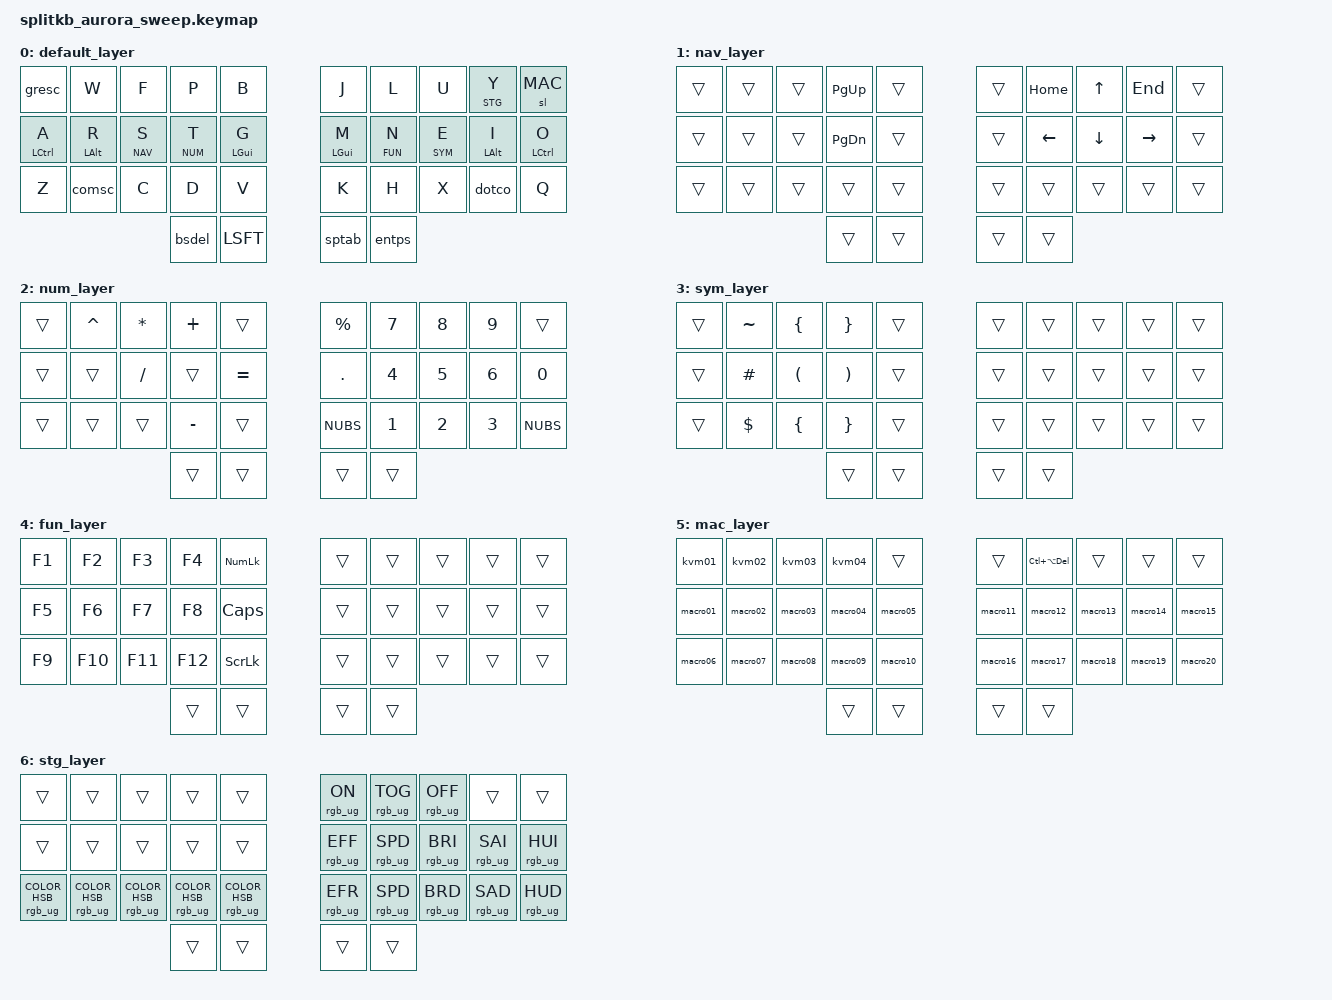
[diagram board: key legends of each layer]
/*
 * Copyright (c) 2022 The ZMK Contributors
 *
 * SPDX-License-Identifier: MIT
 * sources:
 * https://github.com/CrossR/zmk_config - Macro configuration
 * https://joshinator.de/posts/zmk-combo-helper/ - Combo configuration
 */

/* Key Positions
╭────┬────┬────┬────┬────╮      ╭────┬────┬────┬────┬────╮
  00   01   02   03   04          05   06   07   08   09
├────┼────┼────┼────┼────┤      ├────┼────┼────┼────┼────┤
  10   11   12   13   14          15   16   17   18   19
├────┼────┼────┼────┼────┤      ├────┼────┼────┼────┼────┤
  20   21   22   23   24          25   26   27   28   29
╰────┴────┴────┼────┼────┤      ├────┼────┼────┴────┴────╯
                 30   31          32   33
               ╰────┴────╯      ╰────┴────╯
*/

#include <behaviors.dtsi>
#include <dt-bindings/zmk/keys.h>
#include <dt-bindings/zmk/bt.h>
#include <dt-bindings/zmk/rgb.h>

// Configure LEDs to include per key LED. Six underglow plus seventeen per key
    &led_strip { chain-length = <23>; };
// -----------------

// Layer definitions
    #define BASE 0
    #define NAV 1
    #define NUM 2
    #define SYM 3
    #define FUN 4
    #define MAC 5
    #define STG 6
// -----------------

// RGB Definitions
    #define RGB_FX_UP    &rgb_ug RGB_EFF
    #define RGB_FX_DN    &rgb_ug RGB_EFR
    #define RGB_SP_UP    &rgb_ug RGB_SPI
    #define RGB_SP_DN    &rgb_ug RGB_SPD
    #define RGB_BR_UP    &rgb_ug RGB_BRI
    #define RGB_BR_DN    &rgb_ug RGB_BRD
    #define RGB_SA_UP    &rgb_ug RGB_SAI
    #define RGB_SA_DN    &rgb_ug RGB_SAD
    #define RGB_HU_UP    &rgb_ug RGB_HUI
    #define RGB_HU_DN    &rgb_ug RGB_HUD
    #define RGBON        &rgb_ug RGB_ON
    #define RGBOFF       &rgb_ug RGB_OFF
    #define RGBTOG       &rgb_ug RGB_TOG
    #define RGB_RED      &rgb_ug RGB_COLOR_HSB(12,100,100)
    #define RGB_PURP     &rgb_ug RGB_COLOR_HSB(191,0,230)
    #define RGB_PINK     &rgb_ug RGB_COLOR_HSB(191,0,192)
    #define RGB_WHIT     &rgb_ug RGB_COLOR_HSB(0,0,0)
    #define RGB_ORAN     &rgb_ug RGB_COLOR_HSB(255,128,0)
// -----------------

// Key Combination Definitions
    #define CAD         &kp LC(LA(DEL))
// -----------------
/ {
    behaviors {

        hml: homerow_mods_left {
            compatible = "zmk,behavior-hold-tap";
            label = "HOMEROW_MODS_LEFT";
            #binding-cells = <2>;
            tapping_term_ms = <300>;
            quick-tap-ms = <125>;
            global-quick-tap;
            flavor = "tap-preferred";
            bindings = <&kp>, <&kp>;
            hold-trigger-key-positions = <
                           5  6  7  8  9
           10 11 12 13    15 16 17 18 19
                          25 26 27 28 29
                 30 31    32 33>;
        };

        hmr: homerow_mods_right {
            compatible = "zmk,behavior-hold-tap";
            label = "HOMEROW_MODS_RIGHT";
            #binding-cells = <2>;
            tapping_term_ms = <300>;
            quick-tap-ms = <125>;
            global-quick-tap;
            flavor = "tap-preferred";
            bindings = <&kp>, <&kp>;
            hold-trigger-key-positions = <
            0  1  2  3  4
            10 11 12 13 14    16 17 18 19
            20 21 22 23 24
                     30 31    32 33>;
        };

        hp: homerow_mods_pinkies {
            compatible = "zmk,behavior-hold-tap";
            label = "HOMEROW_MODS_PINKIES";
            #binding-cells = <2>;
            tapping_term_ms = <350>;
            quick-tap-ms = <125>;
            global-quick-tap;
            flavor = "tap-preferred";
            bindings = <&kp>, <&kp>;
        };

        hl: homerow_layers {
            compatible = "zmk,behavior-hold-tap";
            label = "HOMEROW_LAYERS";
            #binding-cells = <2>;
            tapping_term_ms = <300>;
            quick-tap-ms = <125>;
            global-quick-tap;
            flavor = "tap-preferred";
            bindings = <&kp>, <&kp>;
        };

        gresc: grave_escape {
            compatible = "zmk,behavior-mod-morph";
            label = "GRAVE_ESCAPE";
            #binding-cells = <0>;
            bindings = <&kp ESC>, <&kp GRAVE>;
            mods = <(MOD_LSFT)>;
        };

        sptab: space_tab {
            compatible = "zmk,behavior-mod-morph";
            label = "SPACE_TAB";
            #binding-cells = <0>;
            bindings = <&kp SPACE>, <&kp TAB>;
            mods = <(MOD_LSFT)>;
        };

        bsdel: backspace_delete {
            compatible = "zmk,behavior-mod-morph";
            label = "BACKSPACE_DELETE";
            #binding-cells = <0>;
            bindings = <&kp BKSP>, <&kp DEL>;
            mods = <(MOD_LSFT)>;
        };

        entps: enter_printscreen {
            compatible = "zmk,behavior-mod-morph";
            label = "ENTER_PRINTSCREEN";
            #binding-cells = <0>;
            bindings = <&kp ENTER>, <&kp PSCRN>;
            mods = <(MOD_LSFT)>;
        };

        comsc: comma_semicolon {
            compatible = "zmk,behavior-mod-morph";
            label = "COMMA_SEMICOLON";
            #binding-cells = <0>;
            bindings = <&kp CMMA>, <&kp SEMI>;
            mods = <(MOD_LSFT)>;
        };

        dotco: dot_colon {
            compatible = "zmk,behavior-mod-morph";
            label = "DOT_COLON";
            #binding-cells = <0>;
            bindings = <&kp DOT>, <&kp COLON>;
            mods = <(MOD_LSFT)>;
        };
    };
};

  #define MACRO(NAME, BINDINGS) \
      ZMK_MACRO(NAME, \
      compatible = "zmk,behavior-macro"; \
      wait-ms = <0>; \
      tap-ms = <0>; \
      bindings = <BINDINGS>; \
      )

/ {
    macros {
      MACRO(kvm01,   &macro_press &kp SLCK &macro_wait_time 100 &macro_release &kp SLCK &macro_wait_time 20 &macro_press &kp SLCK &macro_wait_time 100 &macro_release &kp SLCK &macro_wait_time 20 &kp N1)
      MACRO(kvm02,   &macro_press &kp SLCK &macro_wait_time 100 &macro_release &kp SLCK &macro_wait_time 20 &macro_press &kp SLCK &macro_wait_time 100 &macro_release &kp SLCK &macro_wait_time 20 &kp N2)
      MACRO(kvm03,   &kp SLCK &macro_wait_time 100 &kp SLCK &macro_wait_time 100 &kp N3)
      MACRO(kvm04,   &kp SLCK &macro_wait_time 100 &kp SLCK &macro_wait_time 100 &kp N4)
      MACRO(macro01, &kp LS(M) &kp O)
      MACRO(macro02, &kp LS(M) &kp O)
      MACRO(macro03, &kp LS(M) &kp O)
      MACRO(macro04, &kp LS(M) &kp O)
      MACRO(macro05, &kp LS(M) &kp O)
      MACRO(macro06, &kp LS(M) &kp O)
      MACRO(macro07, &kp LS(M) &kp O)
      MACRO(macro08, &kp LS(M) &kp O)
      MACRO(macro09, &kp LS(M) &kp O)
      MACRO(macro10, &kp LS(M) &kp O)
      MACRO(macro11, &kp LS(M) &kp O)
      MACRO(macro12, &kp LS(M) &kp O)
      MACRO(macro13, &kp LS(M) &kp O)
      MACRO(macro14, &kp LS(M) &kp O)
      MACRO(macro15, &kp LS(M) &kp O)
      MACRO(macro16, &kp LS(M) &kp O)
      MACRO(macro17, &kp LS(M) &kp O)
      MACRO(macro18, &kp LS(M) &kp O)
      MACRO(macro19, &kp LS(M) &kp O)
      MACRO(macro20, &kp LS(M) &kp O)
    };
};

      #define COMBO(NAME, BINDINGS, KEYPOS) \
        combo_##NAME { \
          timeout-ms = <50>; \
          bindings = <BINDINGS>; \
          key-positions = <KEYPOS>; \
          layers = <0>; \
        };

/ {
    combos {
      compatible = "zmk,combos";
      COMBO(combo_cut,           &kp LC(X),    1 11)
      COMBO(combo_copy,          &kp LC(C),    2 12)
      COMBO(combo_paste,         &kp LC(V),    3 13)
      COMBO(combo_selectall,     &kp LC(A),    0 10)
      COMBO(combo_backslash,     &kp BSLH,     10 20)
      COMBO(combo_forwardslash,  &kp FSLH,     19 29)
      COMBO(combo_undo,          &kp LC(Z),    13 23)
      COMBO(combo_redo,          &kp LC(Y),    12 22)
      COMBO(combo_quote,         &kp SQT,      6 16)
      COMBO(combo_exclamation,   &kp EXCL,     7 17)
      COMBO(combo_at,            &kp AT,       8 18)
      COMBO(combo_underscore,    &kp MINUS,    16 17)
    };
};

/ {
    keymap {
      compatible = "zmk,keymap";

      default_layer {
  		bindings = <
      // ╭─────────────┬─────────────┬─────────────┬─────────────┬─────────────╮      ╭─────────────┬─────────────┬─────────────┬─────────────┬─────────────╮
           &gresc        &kp W         &kp F         &kp P         &kp B                &kp J         &kp L         &kp U         &lt STG Y     &sl MAC
      // ├─────────────┼─────────────┼─────────────┼─────────────┼─────────────┤      ├─────────────┼─────────────┼─────────────┼─────────────┼─────────────┤
           &hp LCTL A    &hml LALT R   &lt NAV S     &lt NUM T     &hml LGUI G          &hmr LGUI M   &lt FUN N     &lt SYM E     &hmr LALT I   &hp LCTL O
      // ├─────────────┼─────────────┼─────────────┼─────────────┼─────────────┤      ├─────────────┼─────────────┼─────────────┼─────────────┼─────────────┤
           &kp Z         &comsc        &kp C         &kp D         &kp V                &kp K         &kp H         &kp X         &dotco        &kp Q
      // ╰─────────────┴─────────────┴─────────────┼─────────────┼─────────────┤      ├─────────────┼─────────────┼─────────────┴─────────────┴─────────────╯
            				                                 &bsdel        &kp LSFT             &sptab        &entps
      //                                           ╰─────────────┴─────────────╯      ╰─────────────┴─────────────╯
      >;
  		};

      nav_layer {
  		bindings = <
      // ╭─────────────┬─────────────┬─────────────┬─────────────┬─────────────╮      ╭─────────────┬─────────────┬─────────────┬─────────────┬─────────────╮
           &trans        &trans        &trans        &kp PG_UP     &trans		            &trans        &kp HOME      &kp UP        &kp END       &trans
      // ├─────────────┼─────────────┼─────────────┼─────────────┼─────────────┤      ├─────────────┼─────────────┼─────────────┼─────────────┼─────────────┤
           &trans        &trans        &trans        &kp PG_DN     &trans 	            &trans        &kp LEFT      &kp DOWN      &kp RIGHT     &trans
      // ├─────────────┼─────────────┼─────────────┼─────────────┼─────────────┤      ├─────────────┼─────────────┼─────────────┼─────────────┼─────────────┤
           &trans        &trans        &trans        &trans        &trans     	        &trans        &trans        &trans        &trans        &trans
      // ╰─────────────┴─────────────┴─────────────┼─────────────┼─────────────┤      ├─────────────┼─────────────┼─────────────┴─────────────┴─────────────╯
      			                                         &trans        &trans               &trans        &trans
      //                                           ╰─────────────┴─────────────╯      ╰─────────────┴─────────────╯
      >;
  		};

  		num_layer {
  		bindings = <
      // ╭─────────────┬─────────────┬─────────────┬─────────────┬─────────────╮      ╭─────────────┬─────────────┬─────────────┬─────────────┬─────────────╮
           &trans        &kp CARET     &kp ASTRK     &kp PLUS      &trans		            &kp PERCENT   &kp N7        &kp N8        &kp N9        &trans
      // ├─────────────┼─────────────┼─────────────┼─────────────┼─────────────┤      ├─────────────┼─────────────┼─────────────┼─────────────┼─────────────┤
           &trans        &trans        &kp FSLH      &trans        &kp EQUAL	          &kp DOT       &kp N4        &kp N5        &kp N6        &kp N0
      // ├─────────────┼─────────────┼─────────────┼─────────────┼─────────────┤      ├─────────────┼─────────────┼─────────────┼─────────────┼─────────────┤
           &trans        &trans        &trans        &kp MINUS     &trans       	      &kp NUBS      &kp N1        &kp N2        &kp N3        &kp NUBS
      // ╰─────────────┴─────────────┴─────────────┼─────────────┼─────────────┤      ├─────────────┼─────────────┼─────────────┴─────────────┴─────────────╯
      			                                         &trans        &trans               &trans        &trans
      //                                           ╰─────────────┴─────────────╯      ╰─────────────┴─────────────╯
      >;
  		};

  		sym_layer {
  		bindings = <
      // ╭─────────────┬─────────────┬─────────────┬─────────────┬─────────────╮      ╭─────────────┬─────────────┬─────────────┬─────────────┬─────────────╮
           &trans        &kp TILDE     &kp LBRC      &kp RBRC      &trans	  	          &trans        &trans        &trans        &trans        &trans
      // ├─────────────┼─────────────┼─────────────┼─────────────┼─────────────┤      ├─────────────┼─────────────┼─────────────┼─────────────┼─────────────┤
           &trans        &kp HASH      &kp LPAR      &kp RPAR      &trans 	            &trans        &trans        &trans        &trans        &trans
      // ├─────────────┼─────────────┼─────────────┼─────────────┼─────────────┤      ├─────────────┼─────────────┼─────────────┼─────────────┼─────────────┤
           &trans        &kp DLLR      &kp LBRC      &kp RBRC      &trans 	            &trans        &trans        &trans        &trans        &trans
      // ╰─────────────┴─────────────┴─────────────┼─────────────┼─────────────┤      ├─────────────┼─────────────┼─────────────┴─────────────┴─────────────╯
      			                                         &trans        &trans               &trans        &trans
      //                                           ╰─────────────┴─────────────╯      ╰─────────────┴─────────────╯
      >;
  		};

      fun_layer {
      bindings = <
      // ╭─────────────┬─────────────┬─────────────┬─────────────┬─────────────╮      ╭─────────────┬─────────────┬─────────────┬─────────────┬─────────────╮
           &kp F1        &kp F2        &kp F3        &kp F4        &kp KP_NLCK          &trans        &trans        &trans        &trans        &trans
      // ├─────────────┼─────────────┼─────────────┼─────────────┼─────────────┤      ├─────────────┼─────────────┼─────────────┼─────────────┼─────────────┤
           &kp F5        &kp F6        &kp F7        &kp F8        &kp CAPS  	          &trans        &trans        &trans        &trans        &trans
      // ├─────────────┼─────────────┼─────────────┼─────────────┼─────────────┤      ├─────────────┼─────────────┼─────────────┼─────────────┼─────────────┤
           &kp F9        &kp F10       &kp F11       &kp F12       &kp SLCK             &trans        &trans        &trans        &trans        &trans
      // ╰─────────────┴─────────────┴─────────────┼─────────────┼─────────────┤      ├─────────────┼─────────────┼─────────────┴─────────────┴─────────────╯
                                                     &trans        &trans               &trans        &trans
      //                                           ╰─────────────┴─────────────╯      ╰─────────────┴─────────────╯
      >;
      };

      mac_layer {
      bindings = <
      // ╭─────────────┬─────────────┬─────────────┬─────────────┬─────────────╮      ╭─────────────┬─────────────┬─────────────┬─────────────┬─────────────╮
           &kvm01        &kvm02        &kvm03        &kvm04        &trans               &trans        CAD           &trans        &trans        &trans
      // ├─────────────┼─────────────┼─────────────┼─────────────┼─────────────┤      ├─────────────┼─────────────┼─────────────┼─────────────┼─────────────┤
  	       &macro01      &macro02      &macro03      &macro04      &macro05             &macro11      &macro12      &macro13      &macro14      &macro15
      // ├─────────────┼─────────────┼─────────────┼─────────────┼─────────────┤      ├─────────────┼─────────────┼─────────────┼─────────────┼─────────────┤
  		     &macro06      &macro07      &macro08      &macro09      &macro10             &macro16      &macro17      &macro18      &macro19      &macro20
      // ╰─────────────┴─────────────┴─────────────┼─────────────┼─────────────┤      ├─────────────┼─────────────┼─────────────┴─────────────┴─────────────╯
  					                                         &trans        &trans               &trans        &trans
      //                                           ╰─────────────┴─────────────╯      ╰─────────────┴─────────────╯
      >;
      };

      stg_layer {
      bindings = <
      // ╭─────────────┬─────────────┬─────────────┬─────────────┬─────────────╮      ╭─────────────┬─────────────┬─────────────┬─────────────┬─────────────╮
           &trans        &trans        &trans        &trans        &trans               RGBON         RGBTOG        RGBOFF        &trans        &trans
      // ├─────────────┼─────────────┼─────────────┼─────────────┼─────────────┤      ├─────────────┼─────────────┼─────────────┼─────────────┼─────────────┤
           &trans        &trans        &trans        &trans        &trans               RGB_FX_UP     RGB_SP_DN     RGB_BR_UP     RGB_SA_UP     RGB_HU_UP
      // ├─────────────┼─────────────┼─────────────┼─────────────┼─────────────┤      ├─────────────┼─────────────┼─────────────┼─────────────┼─────────────┤
           RGB_RED       RGB_PINK      RGB_PURP      RGB_ORAN      RGB_WHIT             RGB_FX_DN     RGB_SP_DN     RGB_BR_DN     RGB_SA_DN     RGB_HU_DN
      // ╰─────────────┴─────────────┴─────────────┼─────────────┼─────────────┤      ├─────────────┼─────────────┼─────────────┴─────────────┴─────────────╯
  					                                         &trans        &trans               &trans        &trans
      //                                           ╰─────────────┴─────────────╯      ╰─────────────┴─────────────╯
      >;
      };
	  };
};
